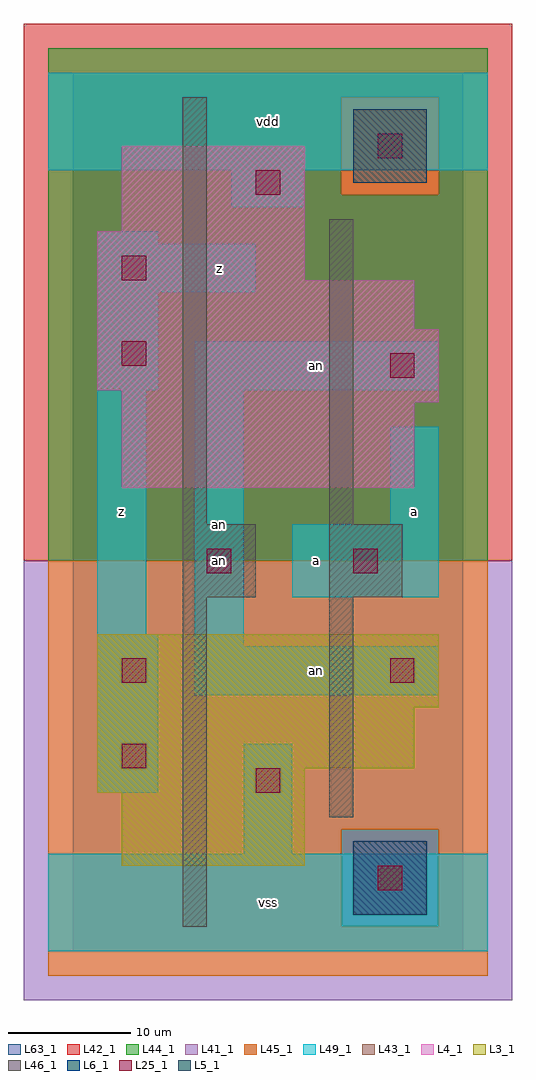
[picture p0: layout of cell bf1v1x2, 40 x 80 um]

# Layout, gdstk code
import gdstk
lib = gdstk.Library(unit=1e-6, precision=1e-09)
def R(c, l, rs):  # rectangles x0, y0, x1, y1
    for r in rs: c.add(gdstk.rectangle(r[:2], r[2:], *l))
L3_1 = (3, 1)
L4_1 = (4, 1)
L5_1 = (5, 1)
L6_1 = (6, 1)
L25_1 = (25, 1)
L41_1 = (41, 1)
L42_1 = (42, 1)
L43_1 = (43, 1)
L44_1 = (44, 1)
L45_1 = (45, 1)
L46_1 = (46, 1)
L49_1 = (49, 1)
L63_1 = (63, 1)

bf1v1x2 = lib.new_cell('bf1v1x2')
R(bf1v1x2, L3_1, [(4,7,19,13), (2,13,19,15), (2,15,28,20), (2,20,30,26)])
R(bf1v1x2, L4_1, [(4,38,28,45), (4,45,30,46), (2,46,30,51), (2,51,28,55), (2,55,19,59), (4,59,19,66)])
R(bf1v1x2, L5_1, [(23,63,29,69)])
R(bf1v1x2, L6_1, [(23,3,29,9), (23,3,29,9)])
R(bf1v1x2, L25_1, [(25,5,27,7), (15,13,17,15), (4,15,6,17), (4,22,6,24), (26,22,28,24), (11,31,13,33), (23,31,25,33), (26,47,28,49), (4,48,6,50), (4,55,6,57), (15,62,17,64), (25,65,27,67)])
R(bf1v1x2, L41_1, [(-4,-4,36,32)])
R(bf1v1x2, L42_1, [(-4,32,36,76)])
R(bf1v1x2, L43_1, [(23,3,29,9), (4,7,19,13), (2,13,19,15), (2,15,28,20), (2,20,30,26), (4,38,28,45), (4,45,30,46), (2,46,30,51), (2,51,28,55), (2,55,19,59), (4,59,19,66), (23,63,29,69)])
R(bf1v1x2, L44_1, [(22,2,30,10), (-2,32,34,62), (-2,62,22,70), (30,62,34,70), (-2,70,34,74)])
R(bf1v1x2, L45_1, [(-2,-2,34,2), (-2,2,22,10), (30,2,34,10), (-2,10,34,32), (22,62,30,70)])
R(bf1v1x2, L46_1, [(9,2,11,29), (21,11,23,29), (9,29,15,35), (21,29,27,35), (9,35,11,70), (21,35,23,60)])
R(bf1v1x2, L49_1, [(-2,0,34,8), (14,8,18,17), (2,13,7,26), (10,21,30,25), (10,25,14,46), (2,26,6,46), (18,29,30,35), (26,35,30,43), (2,46,7,54), (10,46,30,50), (2,54,15,58), (2,58,7,59), (13,61,19,64), (-2,64,34,72)])
R(bf1v1x2, L63_1, [(0,0,32,72)])
bf1v1x2.add(gdstk.Label('an', (12,32), layer=49, texttype=1))
bf1v1x2.add(gdstk.Label('z', (4,36), layer=49, texttype=1))
bf1v1x2.add(gdstk.Label('an', (12,35), layer=49, texttype=1))
bf1v1x2.add(gdstk.Label('z', (12,56), layer=49, texttype=1))
bf1v1x2.add(gdstk.Label('vss', (16,4), layer=49, texttype=1))
bf1v1x2.add(gdstk.Label('a', (20,32), layer=49, texttype=1))
bf1v1x2.add(gdstk.Label('vdd', (16,68), layer=49, texttype=1))
bf1v1x2.add(gdstk.Label('an', (20,23), layer=49, texttype=1))
bf1v1x2.add(gdstk.Label('a', (28,36), layer=49, texttype=1))
bf1v1x2.add(gdstk.Label('an', (20,48), layer=49, texttype=1))

lib.write_gds('bf1v1x2.gds')
